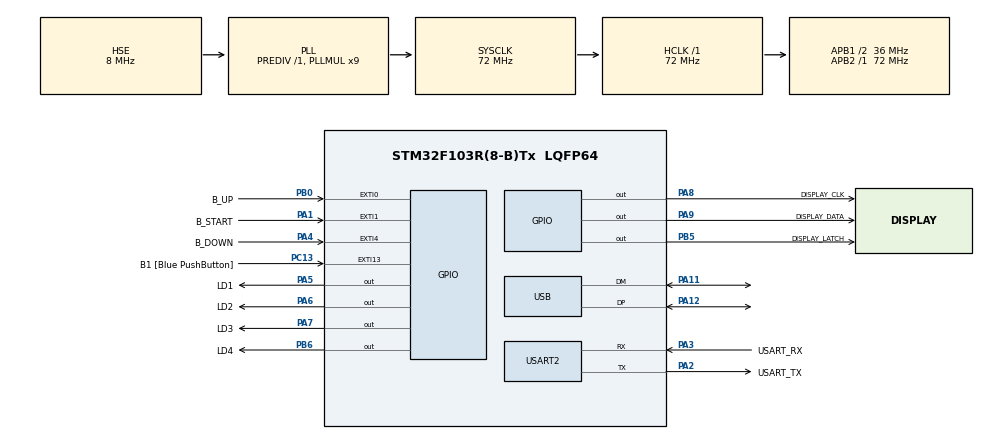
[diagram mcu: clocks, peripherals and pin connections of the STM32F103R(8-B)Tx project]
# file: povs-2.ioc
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ADC1.Channel-0\#ChannelRegularConversion=ADC_CHANNEL_TEMPSENSOR
ADC1.ContinuousConvMode=ENABLE
ADC1.NbrOfConversionFlag=1
ADC1.Rank-0\#ChannelRegularConversion=1
ADC1.SamplingTime-0\#ChannelRegularConversion=ADC_SAMPLETIME_1CYCLE_5
ADC1.master=1
Mcu.Family=STM32F1
Mcu.Name=STM32F103R(8-B)Tx
Mcu.Package=LQFP64
NVIC.EXTI0_IRQn=true\:0\:0\:false\:false\:true\:true\:true\:true
NVIC.EXTI15_10_IRQn=true\:0\:0\:false\:false\:true\:true\:true\:true
NVIC.EXTI1_IRQn=true\:0\:0\:false\:false\:true\:true\:true\:true
NVIC.EXTI4_IRQn=true\:0\:0\:false\:false\:true\:true\:true\:true
NVIC.PriorityGroup=NVIC_PRIORITYGROUP_4
NVIC.USB_LP_CAN1_RX0_IRQn=true\:0\:0\:false\:false\:true\:false\:true\:true
PA1.GPIO_Label=B_START
PA1.Signal=GPXTI1
PA11.Mode=Device
PA11.Signal=USB_DM
PA12.Mode=Device
PA12.Signal=USB_DP
PA13.GPIO_Label=TMS
PA13.Mode=Serial_Wire
PA13.Signal=SYS_JTMS-SWDIO
PA14.GPIO_Label=TCK
PA14.Mode=Serial_Wire
PA14.Signal=SYS_JTCK-SWCLK
PA2.GPIO_Label=USART_TX
PA2.GPIO_Mode=GPIO_MODE_AF_PP
PA2.GPIO_PuPd=GPIO_NOPULL
PA2.GPIO_Speed=GPIO_SPEED_FREQ_LOW
PA2.Mode=Asynchronous
PA2.Signal=USART2_TX
PA3.GPIO_Label=USART_RX
PA3.GPIO_Mode=GPIO_MODE_AF_PP
PA3.GPIO_PuPd=GPIO_NOPULL
PA3.GPIO_Speed=GPIO_SPEED_FREQ_LOW
PA3.Mode=Asynchronous
PA3.Signal=USART2_RX
PA4.GPIO_Label=B_DOWN
PA4.Signal=GPXTI4
PA5.GPIO_Label=LD1
PA5.GPIO_ModeDefaultOutputPP=GPIO_MODE_OUTPUT_PP
PA5.GPIO_PuPd=GPIO_NOPULL
PA5.GPIO_Speed=GPIO_SPEED_FREQ_LOW
PA5.Signal=GPIO_Output
PA6.GPIO_Label=LD2
PA6.Signal=GPIO_Output
PA7.GPIO_Label=LD3
PA7.Signal=GPIO_Output
PA8.GPIO_Label=DISPLAY_CLK
PA8.Signal=GPIO_Output
PA9.GPIO_Label=DISPLAY_DATA
PA9.Signal=GPIO_Output
PB0.GPIO_Label=B_UP
PB0.Signal=GPXTI0
PB3.GPIO_Label=SWO
PB3.Signal=SYS_JTDO-TRACESWO
PB5.GPIO_Label=DISPLAY_LATCH
PB5.Signal=GPIO_Output
PB6.GPIO_Label=LD4
PB6.Signal=GPIO_Output
PC13-TAMPER-RTC.GPIO_Label=B1 [Blue PushButton]
PC13-TAMPER-RTC.GPIO_PuPd=GPIO_NOPULL
PC13-TAMPER-RTC.Signal=GPXTI13
PC14-OSC32_IN.Signal=RCC_OSC32_IN
PC15-OSC32_OUT.Signal=RCC_OSC32_OUT
PD0-OSC_IN.Mode=HSE-External-Oscillator
PD0-OSC_IN.Signal=RCC_OSC_IN
PD1-OSC_OUT.Mode=HSE-External-Oscillator
PD1-OSC_OUT.Signal=RCC_OSC_OUT
ProjectManager.HeapSize=0x200
ProjectManager.StackSize=0x400
ProjectManager.TargetToolchain=Makefile
RCC.ADCPresc=RCC_ADCPCLK2_DIV6
RCC.AHBFreq_Value=72000000
RCC.APB1CLKDivider=RCC_HCLK_DIV2
RCC.APB1Freq_Value=36000000
RCC.APB1TimFreq_Value=72000000
RCC.APB2Freq_Value=72000000
RCC.APB2TimFreq_Value=72000000
RCC.HCLKFreq_Value=72000000
RCC.PLLMUL=RCC_PLL_MUL9
RCC.RTCClockSelection=RCC_RTCCLKSOURCE_LSE
RCC.SYSCLKFreq_VALUE=72000000
RCC.SYSCLKSource=RCC_SYSCLKSOURCE_PLLCLK
RCC.USBFreq_Value=48000000
RCC.USBPrescaler=RCC_USBCLKSOURCE_PLL_DIV1_5
USART2.VirtualMode=VM_ASYNC
USB_DEVICE.CLASS_NAME_FS=CDC
USB_DEVICE.VirtualMode=Cdc
USB_DEVICE.VirtualModeFS=Cdc_FS
VP_ADC1_TempSens_Input.Mode=IN-TempSens
VP_ADC1_Vref_Input.Mode=IN-Vrefint
VP_TIM1_VS_ClockSourceINT.Mode=Internal
VP_TIM1_VS_ClockSourceITR.Mode=TriggerSource_ITR0
VP_USB_DEVICE_VS_USB_DEVICE_CDC_FS.Mode=CDC_FS
board=NUCLEO-F103RB

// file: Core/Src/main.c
/* USER CODE BEGIN Header */
/**
  ******************************************************************************
  * @file           : main.c
  * @brief          : Main program body
  ******************************************************************************
  * @attention
  *
  * Copyright (c) 2022 STMicroelectronics.
  * All rights reserved.
  *
  * This software is licensed under terms that can be found in the LICENSE file
  * in the root directory of this software component.
  * If no LICENSE file comes with this software, it is provided AS-IS.
  *
  ******************************************************************************
  */
/* USER CODE END Header */
#include "main.h"
#include "usb_device.h"

/* USER CODE BEGIN PD */
#define T_25   1.43f      // Напряжение (в вольтах) на датчике при температуре 25 °C.
#define T_SLOPE  0.0043f    // Изменение напряжения (в вольтах) при изменении температуры на градус.
#define V_REF    3.3f       // Образцовое напряжение АЦП (в вольтах).
/* USER CODE END PD */

ADC_HandleTypeDef hadc1;

TIM_HandleTypeDef htim1;

UART_HandleTypeDef huart2;

/* USER CODE BEGIN PV */
#define SMB_0 0b00000011
#define SMB_1 0b10011111
#define SMB_2 0b00100101
#define SMB_3 0b00001101
#define SMB_4 0b10011001
#define SMB_5 0b01001001
#define SMB_6 0b01000001
#define SMB_7 0b00011111
#define SMB_8 0b00000001
#define SMB_9 0b00001001
#define SMB_NONE 0b11111111

#define DIG_1 0b10001111
#define DIG_2 0b01001111
#define DIG_3 0b00100000
#define DIG_4 0b00010000
const uint8_t NUMBERS[] = {
        SMB_0,
        SMB_1,
        SMB_2,
        SMB_3,
        SMB_4,
        SMB_5,
        SMB_6,
        SMB_7,
        SMB_8,
        SMB_9};

const uint8_t SEGMENTS[] = {DIG_1, DIG_2, DIG_3, DIG_4};

uint8_t NUMBER[15] = {0, 0, 0, 0, 0, 0, 0, 0, 0, 0, 0, 0, 0, 0, 0};
int8_t numberSize = 10;

uint8_t isNumberSizeChoice = 0;

uint8_t isGenerating = 0;

uint16_t drawingDelay = 300;

int8_t currPos = -4;
/* USER CODE END PV */

void SystemClock_Config(void);

static void MX_GPIO_Init(void);

static void MX_USART2_UART_Init(void);

static void MX_TIM1_Init(void);

static void MX_ADC1_Init(void);

/* USER CODE BEGIN PFP */
uint8_t nextRandom();

void writeNumberToDisplay(uint8_t number, uint8_t segment);

void writeByteToRegister(uint8_t number);

void generateNewNumber();

void animateLeds();

void drawNumbers(int8_t begin);

void drawNumber(uint8_t number);

void drawClearDisplay();

uint8_t debounceButton();
/* USER CODE END PFP */

int main(void)
{

  /* MCU Configuration--------------------------------------------------------*/

  /* Reset of all peripherals, Initializes the Flash interface and the Systick. */
  HAL_Init();

  /* Configure the system clock */
  SystemClock_Config();

  /* Initialize all configured peripherals */
  MX_GPIO_Init();
  MX_USART2_UART_Init();
  MX_TIM1_Init();
  MX_ADC1_Init();
  MX_USB_DEVICE_Init();

  /* Infinite loop */
  /* USER CODE BEGIN WHILE */
  HAL_ADC_Start(&hadc1);
  float temp = 0;
  while (1)
  {
    /* USER CODE END WHILE */

    /* USER CODE BEGIN 3 */
    HAL_GPIO_WritePin(LD2_GPIO_Port, LD2_Pin, GPIO_PIN_SET);
    HAL_GPIO_WritePin(LD3_GPIO_Port, LD3_Pin, GPIO_PIN_SET);
    HAL_GPIO_WritePin(LD4_GPIO_Port, LD4_Pin, GPIO_PIN_SET);
    drawClearDisplay();
    HAL_ADC_PollForConversion(&hadc1, 1000);
    uint32_t adcVal = HAL_ADC_GetValue(&hadc1);
    temp = (float) adcVal / 4096 * V_REF;
    temp = (temp - T_25) / T_SLOPE + 25;
    HAL_StatusTypeDef result = HAL_UART_Transmit(&huart2, (uint8_t *) &temp, sizeof(float), HAL_MAX_DELAY);
    if (result == HAL_OK)
    {
      HAL_GPIO_TogglePin(LD1_GPIO_Port, LD1_Pin);
    }
    HAL_Delay(1000);
  }
  /* USER CODE END 3 */
}

void SystemClock_Config(void)
{
  RCC_OscInitTypeDef RCC_OscInitStruct = {0};
  RCC_ClkInitTypeDef RCC_ClkInitStruct = {0};
  RCC_PeriphCLKInitTypeDef PeriphClkInit = {0};

  /** Initializes the RCC Oscillators according to the specified parameters
  * in the RCC_OscInitTypeDef structure.
  */
  RCC_OscInitStruct.OscillatorType = RCC_OSCILLATORTYPE_HSE;
  RCC_OscInitStruct.HSEState = RCC_HSE_ON;
  RCC_OscInitStruct.HSEPredivValue = RCC_HSE_PREDIV_DIV1;
  RCC_OscInitStruct.HSIState = RCC_HSI_ON;
  RCC_OscInitStruct.PLL.PLLState = RCC_PLL_ON;
  RCC_OscInitStruct.PLL.PLLSource = RCC_PLLSOURCE_HSE;
  RCC_OscInitStruct.PLL.PLLMUL = RCC_PLL_MUL9;
  if (HAL_RCC_OscConfig(&RCC_OscInitStruct) != HAL_OK)
  {
    Error_Handler();
  }

  /** Initializes the CPU, AHB and APB buses clocks
  */
  RCC_ClkInitStruct.ClockType = RCC_CLOCKTYPE_HCLK | RCC_CLOCKTYPE_SYSCLK
                                | RCC_CLOCKTYPE_PCLK1 | RCC_CLOCKTYPE_PCLK2;
  RCC_ClkInitStruct.SYSCLKSource = RCC_SYSCLKSOURCE_PLLCLK;
  RCC_ClkInitStruct.AHBCLKDivider = RCC_SYSCLK_DIV1;
  RCC_ClkInitStruct.APB1CLKDivider = RCC_HCLK_DIV2;
  RCC_ClkInitStruct.APB2CLKDivider = RCC_HCLK_DIV1;

  if (HAL_RCC_ClockConfig(&RCC_ClkInitStruct, FLASH_LATENCY_2) != HAL_OK)
  {
    Error_Handler();
  }
  PeriphClkInit.PeriphClockSelection = RCC_PERIPHCLK_ADC | RCC_PERIPHCLK_USB;
  PeriphClkInit.AdcClockSelection = RCC_ADCPCLK2_DIV6;
  PeriphClkInit.UsbClockSelection = RCC_USBCLKSOURCE_PLL_DIV1_5;
  if (HAL_RCCEx_PeriphCLKConfig(&PeriphClkInit) != HAL_OK)
  {
    Error_Handler();
  }
}

static void MX_ADC1_Init(void)
{

  ADC_ChannelConfTypeDef sConfig = {0};

  /** Common config
  */
  hadc1.Instance = ADC1;
  hadc1.Init.ScanConvMode = ADC_SCAN_DISABLE;
  hadc1.Init.ContinuousConvMode = ENABLE;
  hadc1.Init.DiscontinuousConvMode = DISABLE;
  hadc1.Init.ExternalTrigConv = ADC_SOFTWARE_START;
  hadc1.Init.DataAlign = ADC_DATAALIGN_RIGHT;
  hadc1.Init.NbrOfConversion = 1;
  if (HAL_ADC_Init(&hadc1) != HAL_OK)
  {
    Error_Handler();
  }

  /** Configure Regular Channel
  */
  sConfig.Channel = ADC_CHANNEL_TEMPSENSOR;
  sConfig.Rank = ADC_REGULAR_RANK_1;
  sConfig.SamplingTime = ADC_SAMPLETIME_1CYCLE_5;
  if (HAL_ADC_ConfigChannel(&hadc1, &sConfig) != HAL_OK)
  {
    Error_Handler();
  }

}

static void MX_TIM1_Init(void)
{

  TIM_ClockConfigTypeDef sClockSourceConfig = {0};
  TIM_SlaveConfigTypeDef sSlaveConfig = {0};
  TIM_MasterConfigTypeDef sMasterConfig = {0};

  htim1.Instance = TIM1;
  htim1.Init.Prescaler = 0;
  htim1.Init.CounterMode = TIM_COUNTERMODE_UP;
  htim1.Init.Period = 65535;
  htim1.Init.ClockDivision = TIM_CLOCKDIVISION_DIV1;
  htim1.Init.RepetitionCounter = 0;
  htim1.Init.AutoReloadPreload = TIM_AUTORELOAD_PRELOAD_DISABLE;
  if (HAL_TIM_Base_Init(&htim1) != HAL_OK)
  {
    Error_Handler();
  }
  sClockSourceConfig.ClockSource = TIM_CLOCKSOURCE_INTERNAL;
  if (HAL_TIM_ConfigClockSource(&htim1, &sClockSourceConfig) != HAL_OK)
  {
    Error_Handler();
  }
  sSlaveConfig.SlaveMode = TIM_SLAVEMODE_DISABLE;
  sSlaveConfig.InputTrigger = TIM_TS_ITR0;
  if (HAL_TIM_SlaveConfigSynchro(&htim1, &sSlaveConfig) != HAL_OK)
  {
    Error_Handler();
  }
  sMasterConfig.MasterOutputTrigger = TIM_TRGO_RESET;
  sMasterConfig.MasterSlaveMode = TIM_MASTERSLAVEMODE_DISABLE;
  if (HAL_TIMEx_MasterConfigSynchronization(&htim1, &sMasterConfig) != HAL_OK)
  {
    Error_Handler();
  }

}

static void MX_USART2_UART_Init(void)
{

  huart2.Instance = USART2;
  huart2.Init.BaudRate = 115200;
  huart2.Init.WordLength = UART_WORDLENGTH_8B;
  huart2.Init.StopBits = UART_STOPBITS_1;
  huart2.Init.Parity = UART_PARITY_NONE;
  huart2.Init.Mode = UART_MODE_TX_RX;
  huart2.Init.HwFlowCtl = UART_HWCONTROL_NONE;
  huart2.Init.OverSampling = UART_OVERSAMPLING_16;
  if (HAL_UART_Init(&huart2) != HAL_OK)
  {
    Error_Handler();
  }

}

static void MX_GPIO_Init(void)
{
  GPIO_InitTypeDef GPIO_InitStruct = {0};

  /* GPIO Ports Clock Enable */
  __HAL_RCC_GPIOC_CLK_ENABLE();
  __HAL_RCC_GPIOD_CLK_ENABLE();
  __HAL_RCC_GPIOA_CLK_ENABLE();
  __HAL_RCC_GPIOB_CLK_ENABLE();

  /*Configure GPIO pin Output Level */
  HAL_GPIO_WritePin(GPIOA, LD1_Pin | LD2_Pin | LD3_Pin | DISPLAY_CLK_Pin
                           | DISPLAY_DATA_Pin, GPIO_PIN_RESET);

  /*Configure GPIO pin Output Level */
  HAL_GPIO_WritePin(GPIOB, DISPLAY_LATCH_Pin | LD4_Pin, GPIO_PIN_RESET);

  /*Configure GPIO pin : B1_Pin */
  GPIO_InitStruct.Pin = B1_Pin;
  GPIO_InitStruct.Mode = GPIO_MODE_IT_RISING;
  GPIO_InitStruct.Pull = GPIO_NOPULL;
  HAL_GPIO_Init(B1_GPIO_Port, &GPIO_InitStruct);

  /*Configure GPIO pins : B_START_Pin B_DOWN_Pin */
  GPIO_InitStruct.Pin = B_START_Pin | B_DOWN_Pin;
  GPIO_InitStruct.Mode = GPIO_MODE_IT_RISING;
  GPIO_InitStruct.Pull = GPIO_NOPULL;
  HAL_GPIO_Init(GPIOA, &GPIO_InitStruct);

  /*Configure GPIO pins : LD1_Pin LD2_Pin LD3_Pin DISPLAY_CLK_Pin
                           DISPLAY_DATA_Pin */
  GPIO_InitStruct.Pin = LD1_Pin | LD2_Pin | LD3_Pin | DISPLAY_CLK_Pin
                        | DISPLAY_DATA_Pin;
  GPIO_InitStruct.Mode = GPIO_MODE_OUTPUT_PP;
  GPIO_InitStruct.Pull = GPIO_NOPULL;
  GPIO_InitStruct.Speed = GPIO_SPEED_FREQ_LOW;
  HAL_GPIO_Init(GPIOA, &GPIO_InitStruct);

  /*Configure GPIO pin : B_UP_Pin */
  GPIO_InitStruct.Pin = B_UP_Pin;
  GPIO_InitStruct.Mode = GPIO_MODE_IT_RISING;
  GPIO_InitStruct.Pull = GPIO_NOPULL;
  HAL_GPIO_Init(B_UP_GPIO_Port, &GPIO_InitStruct);

  /*Configure GPIO pins : DISPLAY_LATCH_Pin LD4_Pin */
  GPIO_InitStruct.Pin = DISPLAY_LATCH_Pin | LD4_Pin;
  GPIO_InitStruct.Mode = GPIO_MODE_OUTPUT_PP;
  GPIO_InitStruct.Pull = GPIO_NOPULL;
  GPIO_InitStruct.Speed = GPIO_SPEED_FREQ_LOW;
  HAL_GPIO_Init(GPIOB, &GPIO_InitStruct);

  /* EXTI interrupt init*/
  HAL_NVIC_SetPriority(EXTI0_IRQn, 0, 0);
  HAL_NVIC_EnableIRQ(EXTI0_IRQn);

  HAL_NVIC_SetPriority(EXTI1_IRQn, 0, 0);
  HAL_NVIC_EnableIRQ(EXTI1_IRQn);

  HAL_NVIC_SetPriority(EXTI4_IRQn, 0, 0);
  HAL_NVIC_EnableIRQ(EXTI4_IRQn);

  HAL_NVIC_SetPriority(EXTI15_10_IRQn, 0, 0);
  HAL_NVIC_EnableIRQ(EXTI15_10_IRQn);

}

/* USER CODE BEGIN 4 */
uint32_t lastStartPress = 0;
uint32_t lastBtnPress = 0;

void HAL_GPIO_EXTI_Callback(uint16_t GPIO_Pin)
{
  switch (GPIO_Pin)
  {
    case B_START_Pin:
      if ((HAL_GetTick() - lastBtnPress) < 100)
      {
        return;
      }
      if ((HAL_GetTick() - lastStartPress) < 700)
      {
        if (isNumberSizeChoice == 0)
        {
          isNumberSizeChoice = 1;
        }
        lastStartPress = HAL_GetTick();
        break;
      }
      if (isNumberSizeChoice == 1)
      {
        isNumberSizeChoice = 0;
      }
      lastStartPress = HAL_GetTick();
      generateNewNumber();
      lastBtnPress = HAL_GetTick();
      break;
    case B_DOWN_Pin:
      if ((HAL_GetTick() - lastBtnPress) < 100)
      {
        return;
      }
      if (isNumberSizeChoice)
      {
        if (numberSize - 1 >= 1)
        {
          numberSize--;
        }
      } else
      {
        if (drawingDelay < 650)
        {
          drawingDelay += 50;
        }
      }
      lastBtnPress = HAL_GetTick();
      break;
    case B_UP_Pin:
      if ((HAL_GetTick() - lastBtnPress) < 100)
      {
        return;
      }
      if (isNumberSizeChoice)
      {
        if (numberSize + 1 <= 15)
        {
          numberSize++;
        }
      } else
      {
        if (drawingDelay > 150)
        {
          drawingDelay -= 50;
        }
      }
      lastBtnPress = HAL_GetTick();
      break;
  }
}

void writeNumberToDisplay(uint8_t number, uint8_t segment)
{
  writeByteToRegister(number);
  writeByteToRegister(segment);
  HAL_GPIO_WritePin(DISPLAY_LATCH_GPIO_Port, DISPLAY_LATCH_Pin, GPIO_PIN_RESET);
  HAL_GPIO_WritePin(DISPLAY_LATCH_GPIO_Port, DISPLAY_LATCH_Pin, GPIO_PIN_SET);
}

void writeByteToRegister(uint8_t number)
{
  for (int i = 0; i < 8; i++)
  {
    HAL_GPIO_WritePin(DISPLAY_CLK_GPIO_Port, DISPLAY_CLK_Pin, GPIO_PIN_RESET);
    uint8_t bit = (number & (0b00000001 << i));
    HAL_GPIO_WritePin(DISPLAY_DATA_GPIO_Port, DISPLAY_DATA_Pin, bit == 0 ? GPIO_PIN_RESET : GPIO_PIN_SET);
    HAL_GPIO_WritePin(DISPLAY_CLK_GPIO_Port, DISPLAY_CLK_Pin, GPIO_PIN_SET);
  }
}

void drawNumbers(int8_t begin)
{
  for (int8_t i = 0; i < 4; i++)
  {
    if (begin + i < numberSize && begin + i >= 0)
    {
      writeNumberToDisplay(NUMBERS[NUMBER[begin + i]], SEGMENTS[i]);
    } else
    {
      writeNumberToDisplay(0xFF, SEGMENTS[i]);
    }
  }
}

void drawNumber(uint8_t number)
{
  uint8_t t = number / 1000;
  uint8_t h = number / 100;
  uint8_t d = number / 10;
  uint8_t o = number % 10;
  if (t > 0)
  {
    writeNumberToDisplay(NUMBERS[t], SEGMENTS[0]);
  }
  if (h > 0)
  {
    writeNumberToDisplay(NUMBERS[h], SEGMENTS[1]);
  }
  if (d > 0)
  {
    writeNumberToDisplay(NUMBERS[d], SEGMENTS[2]);
  }
  if (o > 0)
  {
    writeNumberToDisplay(NUMBERS[o], SEGMENTS[3]);
  } else
  {
    writeNumberToDisplay(NUMBERS[0], SEGMENTS[3]);
  }
}

uint32_t seed = 7;
uint32_t prev = 1;

uint8_t nextRandom()
{
  uint32_t res = prev * seed % 10;
  prev = res;
  return (uint8_t) res;
}

void generateNewNumber()
{
  isGenerating = 1;
  currPos = -4;
  for (uint8_t i = 0; i < numberSize; i++)
  {
    NUMBER[i] = nextRandom();
  }
}

uint32_t animationStart = 0;

void animateLeds()
{
  drawClearDisplay();
  if (isGenerating)
  {
    HAL_GPIO_WritePin(LD1_GPIO_Port, LD1_Pin, GPIO_PIN_SET);
    HAL_GPIO_WritePin(LD2_GPIO_Port, LD2_Pin, GPIO_PIN_SET);
    HAL_GPIO_WritePin(LD3_GPIO_Port, LD3_Pin, GPIO_PIN_SET);
    HAL_GPIO_WritePin(LD4_GPIO_Port, LD4_Pin, GPIO_PIN_SET);

    if (animationStart == 0)
      animationStart = HAL_GetTick();

    if (HAL_GetTick() - animationStart > 200)
      HAL_GPIO_WritePin(LD1_GPIO_Port, LD1_Pin, GPIO_PIN_RESET);

    if (HAL_GetTick() - animationStart > 400)
      HAL_GPIO_WritePin(LD2_GPIO_Port, LD2_Pin, GPIO_PIN_RESET);

    if (HAL_GetTick() - animationStart > 600)
      HAL_GPIO_WritePin(LD3_GPIO_Port, LD3_Pin, GPIO_PIN_RESET);

    if (HAL_GetTick() - animationStart > 800)
    {
      HAL_GPIO_WritePin(LD4_GPIO_Port, LD4_Pin, GPIO_PIN_RESET);
    }

    if (HAL_GetTick() - animationStart > 1200)
    {
      isGenerating = 0;
      animationStart = 0;
    }
  }
}

void drawClearDisplay()
{
  writeNumberToDisplay(SMB_NONE, SEGMENTS[0]);
  writeNumberToDisplay(SMB_NONE, SEGMENTS[1]);
  writeNumberToDisplay(SMB_NONE, SEGMENTS[2]);
  writeNumberToDisplay(SMB_NONE, SEGMENTS[3]);
}
/* USER CODE END 4 */

void Error_Handler(void)
{
  __disable_irq();
  while (1)
  {
  }
}
